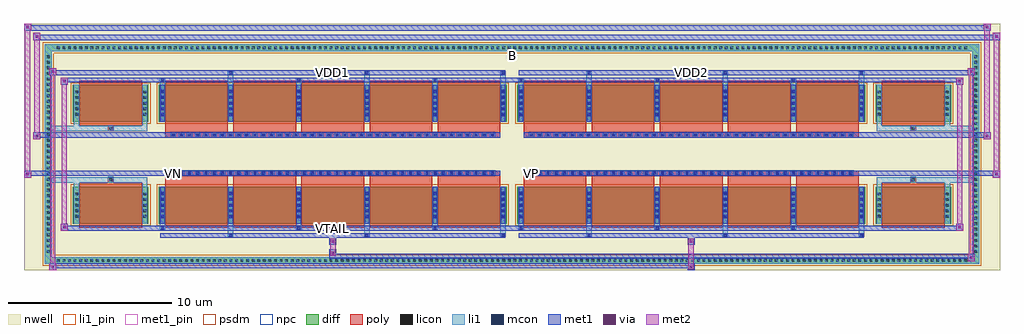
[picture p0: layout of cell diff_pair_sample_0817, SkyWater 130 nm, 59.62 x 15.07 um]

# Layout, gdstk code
import gdstk
lib = gdstk.Library(unit=1e-6, precision=5e-09)
def R(c, l, rs):  # rectangles x0, y0, x1, y1
    for r in rs: c.add(gdstk.rectangle(r[:2], r[2:], *l))
def A(c, l, x, y, w, h, nx, ny, dx, dy):  # array of equal rectangles
    R(c, l, [(x+i*dx, y+j*dy, x+i*dx+w, y+j*dy+h) for i in range(nx) for j in range(ny)])
def P(c, l, *ps):  # polygons
    for p in ps: c.add(gdstk.Polygon(p, *l))
nwell = (64, 20)
diff = (65, 20)
poly = (66, 20)
licon = (66, 44)
li1_pin = (67, 16)
li1 = (67, 20)
mcon = (67, 44)
met1_pin = (68, 16)
met1 = (68, 20)
via = (68, 44)
met2 = (69, 20)
psdm = (94, 20)
npc = (95, 20)

diff_pair_sample_0817 = lib.new_cell('diff_pair_sample_0817')
R(diff_pair_sample_0817, nwell, [(-29.81,-7.1,29.81,7.97), (-27.13,-5.29,-0.01,-0.805), (0.01,-5.29,27.13,-0.805), (-27.13,0.805,-0.01,5.29), (0.01,0.805,27.13,5.29)])
A(diff_pair_sample_0817, diff, -27.915, -6.7, 0.41, 0.41, 164, 2, 0.34, 12.99)
A(diff_pair_sample_0817, diff, -28.54, -6.155, 0.41, 0.41, 1, 36, 0, 0.34)
A(diff_pair_sample_0817, diff, 28.13, -6.155, 0.41, 0.41, 1, 36, 0, 0.34)
R(diff_pair_sample_0817, diff, [(-27.915,-6.7,27.915,-6.29), (-28.54,-6.155,-28.13,6.155), (28.13,-6.155,28.54,6.155), (-26.82,-4.245,-22.21,-1.985), (-21.57,-4.245,-0.32,-1.985), (0.32,-4.245,21.57,-1.985), (22.21,-4.245,26.82,-1.985), (-26.82,1.985,-22.21,4.245), (-21.57,1.985,-0.32,4.245), (0.32,1.985,21.57,4.245), (22.21,1.985,26.82,4.245), (-27.915,6.29,27.915,6.7)])
P(diff_pair_sample_0817, diff, [(28.54,6.7),(-28.54,6.7),(-28.54,-6.29),(-28.13,-6.29),(-28.13,6.29),(28.13,6.29),(28.13,-6.29),(-28.13,-6.29),(-28.54,-6.29),(-28.54,-6.7),(28.54,-6.7)])
A(diff_pair_sample_0817, poly, -21.18, -4.495, 3.83, 2.76, 5, 2, 4.16, 6.23)
A(diff_pair_sample_0817, poly, 0.71, -4.495, 3.83, 2.76, 5, 2, 4.16, 6.23)
A(diff_pair_sample_0817, poly, -21.18, -1.735, 3.83, 0.4, 5, 2, 4.16, 3.07)
A(diff_pair_sample_0817, poly, 0.71, -1.735, 3.83, 0.4, 5, 2, 4.16, 3.07)
A(diff_pair_sample_0817, poly, -20.86, -1.335, 0.33, 0.33, 40, 2, 0.5, 2.34)
A(diff_pair_sample_0817, poly, 1.03, -1.335, 0.33, 0.33, 40, 2, 0.5, 2.34)
R(diff_pair_sample_0817, poly, [(-26.43,-4.495,-22.6,-1.735), (22.6,-4.495,26.43,-1.735), (-24.68,-1.735,-24.35,-1.405), (-24.68,-1.735,-24.35,-1.405), (24.35,-1.735,24.68,-1.405), (24.35,-1.735,24.68,-1.405), (-21.18,-1.335,-0.71,-1.005), (0.71,-1.335,21.18,-1.005), (-21.18,1.005,-0.71,1.335), (0.71,1.005,21.18,1.335), (-24.68,1.405,-24.35,1.735), (-24.68,1.405,-24.35,1.735), (24.35,1.405,24.68,1.735), (24.35,1.405,24.68,1.735), (-26.43,1.735,-22.6,4.495), (22.6,1.735,26.43,4.495)])
A(diff_pair_sample_0817, licon, -27.795, -6.58, 0.17, 0.17, 164, 2, 0.34, 12.99)
A(diff_pair_sample_0817, licon, -28.42, -6.035, 0.17, 0.17, 1, 36, 0, 0.34)
A(diff_pair_sample_0817, licon, 28.25, -6.035, 0.17, 0.17, 1, 36, 0, 0.34)
A(diff_pair_sample_0817, licon, -26.68, -3.88, 0.17, 0.17, 1, 5, 0, 0.34)
A(diff_pair_sample_0817, licon, -22.52, -3.88, 0.17, 0.17, 1, 5, 0, 0.34)
A(diff_pair_sample_0817, licon, -21.43, -3.88, 0.17, 0.17, 6, 5, 4.16, 0.34)
A(diff_pair_sample_0817, licon, 0.46, -3.88, 0.17, 0.17, 6, 5, 4.16, 0.34)
A(diff_pair_sample_0817, licon, 22.35, -3.88, 0.17, 0.17, 1, 5, 0, 0.34)
A(diff_pair_sample_0817, licon, 26.51, -3.88, 0.17, 0.17, 1, 5, 0, 0.34)
A(diff_pair_sample_0817, licon, -20.78, -1.255, 0.17, 0.17, 40, 2, 0.5, 2.34)
A(diff_pair_sample_0817, licon, 1.11, -1.255, 0.17, 0.17, 40, 2, 0.5, 2.34)
A(diff_pair_sample_0817, licon, -26.68, 2.35, 0.17, 0.17, 1, 5, 0, 0.34)
A(diff_pair_sample_0817, licon, -22.52, 2.35, 0.17, 0.17, 1, 5, 0, 0.34)
A(diff_pair_sample_0817, licon, -21.43, 2.35, 0.17, 0.17, 6, 5, 4.16, 0.34)
A(diff_pair_sample_0817, licon, 0.46, 2.35, 0.17, 0.17, 6, 5, 4.16, 0.34)
A(diff_pair_sample_0817, licon, 22.35, 2.35, 0.17, 0.17, 1, 5, 0, 0.34)
A(diff_pair_sample_0817, licon, 26.51, 2.35, 0.17, 0.17, 1, 5, 0, 0.34)
R(diff_pair_sample_0817, licon, [(-24.6,-1.655,-24.43,-1.485), (24.43,-1.655,24.6,-1.485), (-24.6,1.485,-24.43,1.655), (24.43,1.485,24.6,1.655)])
R(diff_pair_sample_0817, li1_pin, [(-0.25,5.79,0.25,6.29)])
A(diff_pair_sample_0817, li1, -27.875, -6.66, 0.33, 0.33, 164, 2, 0.34, 12.99)
A(diff_pair_sample_0817, li1, -28.5, -6.115, 0.33, 0.33, 1, 36, 0, 0.34)
A(diff_pair_sample_0817, li1, 28.17, -6.115, 0.33, 0.33, 1, 36, 0, 0.34)
A(diff_pair_sample_0817, li1, -17.35, -5.05, 0.33, 0.805, 3, 2, 8.32, 9.295)
A(diff_pair_sample_0817, li1, -17.27, -5.05, 0.17, 0.17, 3, 2, 8.32, 9.93)
A(diff_pair_sample_0817, li1, 4.54, -5.05, 0.33, 0.805, 3, 2, 8.32, 9.295)
A(diff_pair_sample_0817, li1, 4.62, -5.05, 0.17, 0.17, 3, 2, 8.32, 9.93)
A(diff_pair_sample_0817, li1, -21.51, -4.62, 0.33, 0.375, 3, 2, 8.32, 8.865)
A(diff_pair_sample_0817, li1, -21.43, -4.62, 0.17, 0.17, 3, 2, 8.32, 9.07)
A(diff_pair_sample_0817, li1, 0.38, -4.62, 0.33, 0.375, 3, 2, 8.32, 8.865)
A(diff_pair_sample_0817, li1, 0.46, -4.62, 0.17, 0.17, 3, 2, 8.32, 9.07)
A(diff_pair_sample_0817, li1, -21.51, -4.245, 0.33, 2.26, 6, 2, 4.16, 6.23)
A(diff_pair_sample_0817, li1, 0.38, -4.245, 0.33, 2.26, 6, 2, 4.16, 6.23)
A(diff_pair_sample_0817, li1, -26.76, -3.96, 0.33, 0.33, 1, 5, 0, 0.34)
A(diff_pair_sample_0817, li1, -22.6, -3.96, 0.33, 0.33, 1, 5, 0, 0.34)
A(diff_pair_sample_0817, li1, -21.51, -3.96, 0.33, 0.33, 6, 5, 4.16, 0.34)
A(diff_pair_sample_0817, li1, 0.38, -3.96, 0.33, 0.33, 6, 5, 4.16, 0.34)
A(diff_pair_sample_0817, li1, 22.27, -3.96, 0.33, 0.33, 1, 5, 0, 0.34)
A(diff_pair_sample_0817, li1, 26.43, -3.96, 0.33, 0.33, 1, 5, 0, 0.34)
A(diff_pair_sample_0817, li1, -21.43, -3.92, 0.17, 0.17, 6, 5, 4.16, 0.36)
A(diff_pair_sample_0817, li1, -21.43, -3.92, 0.17, 1.61, 6, 2, 4.16, 6.23)
A(diff_pair_sample_0817, li1, 0.46, -3.92, 0.17, 0.17, 6, 5, 4.16, 0.36)
A(diff_pair_sample_0817, li1, 0.46, -3.92, 0.17, 1.61, 6, 2, 4.16, 6.23)
A(diff_pair_sample_0817, li1, -20.86, -1.335, 0.33, 0.33, 40, 2, 0.5, 2.34)
A(diff_pair_sample_0817, li1, 1.03, -1.335, 0.33, 0.33, 40, 2, 0.5, 2.34)
A(diff_pair_sample_0817, li1, -26.76, 2.27, 0.33, 0.33, 1, 5, 0, 0.34)
A(diff_pair_sample_0817, li1, -22.6, 2.27, 0.33, 0.33, 1, 5, 0, 0.34)
A(diff_pair_sample_0817, li1, -21.51, 2.27, 0.33, 0.33, 6, 5, 4.16, 0.34)
A(diff_pair_sample_0817, li1, 0.38, 2.27, 0.33, 0.33, 6, 5, 4.16, 0.34)
A(diff_pair_sample_0817, li1, 22.27, 2.27, 0.33, 0.33, 1, 5, 0, 0.34)
A(diff_pair_sample_0817, li1, 26.43, 2.27, 0.33, 0.33, 1, 5, 0, 0.34)
A(diff_pair_sample_0817, li1, -21.43, 2.31, 0.17, 0.17, 6, 5, 4.16, 0.36)
A(diff_pair_sample_0817, li1, 0.46, 2.31, 0.17, 0.17, 6, 5, 4.16, 0.36)
R(diff_pair_sample_0817, li1, [(-28.54,-6.7,-28.13,-6.29), (-28.54,-6.7,-28.13,-6.29), (-28.13,-6.7,28.13,-6.29), (28.13,-6.7,28.54,-6.29), (28.13,-6.7,28.54,-6.29), (-28.54,-6.29,-28.13,6.29), (28.13,-6.29,28.54,6.29), (-26.76,-4.245,-26.43,-1.985), (-22.6,-4.245,-22.27,-1.985), (22.27,-4.245,22.6,-1.985), (26.43,-4.245,26.76,-1.985), (-26.76,-1.985,-26.43,-1.405), (-22.6,-1.985,-22.27,-1.405), (22.27,-1.985,22.6,-1.405), (26.43,-1.985,26.76,-1.405), (-28.54,-1.735,-24.68,-1.405), (-26.76,-1.735,-24.68,-1.405), (-24.68,-1.735,-24.35,-1.405), (-24.35,-1.735,-22.27,-1.405), (22.27,-1.735,24.35,-1.405), (24.35,-1.735,24.68,-1.405), (24.35,-1.735,28.54,-1.405), (24.68,-1.735,26.76,-1.405), (-28.54,1.405,-24.68,1.735), (-26.76,1.405,-24.68,1.735), (-26.76,1.405,-26.43,1.985), (-24.68,1.405,-24.35,1.735), (-24.35,1.405,-22.27,1.735), (-22.6,1.405,-22.27,1.985), (22.27,1.405,24.35,1.735), (22.27,1.405,22.6,1.985), (24.35,1.405,24.68,1.735), (24.35,1.405,28.54,1.735), (24.68,1.405,26.76,1.735), (26.43,1.405,26.76,1.985), (-26.76,1.985,-26.43,4.245), (-22.6,1.985,-22.27,4.245), (22.27,1.985,22.6,4.245), (26.43,1.985,26.76,4.245), (-28.54,6.29,-28.13,6.7), (-28.54,6.29,-28.13,6.7), (-28.13,6.29,28.13,6.7), (28.13,6.29,28.54,6.7), (28.13,6.29,28.54,6.7)])
A(diff_pair_sample_0817, mcon, -17.27, -5.05, 0.17, 0.17, 3, 2, 8.32, 9.93)
A(diff_pair_sample_0817, mcon, 4.62, -5.05, 0.17, 0.17, 3, 2, 8.32, 9.93)
A(diff_pair_sample_0817, mcon, -21.43, -4.62, 0.17, 0.17, 3, 2, 8.32, 9.07)
A(diff_pair_sample_0817, mcon, 0.46, -4.62, 0.17, 0.17, 3, 2, 8.32, 9.07)
A(diff_pair_sample_0817, mcon, -21.43, -3.92, 0.17, 0.17, 6, 5, 4.16, 0.36)
A(diff_pair_sample_0817, mcon, 0.46, -3.92, 0.17, 0.17, 6, 5, 4.16, 0.36)
A(diff_pair_sample_0817, mcon, -20.78, -1.255, 0.17, 0.17, 40, 2, 0.5, 2.34)
A(diff_pair_sample_0817, mcon, 1.11, -1.255, 0.17, 0.17, 40, 2, 0.5, 2.34)
A(diff_pair_sample_0817, mcon, -21.43, 2.31, 0.17, 0.17, 6, 5, 4.16, 0.36)
A(diff_pair_sample_0817, mcon, 0.46, 2.31, 0.17, 0.17, 6, 5, 4.16, 0.36)
R(diff_pair_sample_0817, met1_pin, [(-11.08,-4.66,-10.81,-4.39), (-20.83,-1.295,-20.56,-1.025), (1.06,-1.295,1.33,-1.025), (-11.08,4.84,-10.81,5.11), (10.81,4.84,11.08,5.11)])
A(diff_pair_sample_0817, met1, -17.33, -5.11, 0.29, 0.29, 3, 2, 8.32, 9.93)
A(diff_pair_sample_0817, met1, 4.56, -5.11, 0.29, 0.29, 3, 2, 8.32, 9.93)
A(diff_pair_sample_0817, met1, -21.49, -4.68, 0.29, 0.29, 3, 2, 8.32, 9.07)
A(diff_pair_sample_0817, met1, 0.4, -4.68, 0.29, 0.29, 3, 2, 8.32, 9.07)
A(diff_pair_sample_0817, met1, -21.49, -4.245, 0.29, 2.26, 6, 2, 4.16, 6.23)
A(diff_pair_sample_0817, met1, 0.4, -4.245, 0.29, 2.26, 6, 2, 4.16, 6.23)
A(diff_pair_sample_0817, met1, -21.49, -3.98, 0.29, 0.29, 6, 5, 4.16, 0.36)
A(diff_pair_sample_0817, met1, 0.4, -3.98, 0.29, 0.29, 6, 5, 4.16, 0.36)
A(diff_pair_sample_0817, met1, -20.84, -1.315, 0.29, 0.29, 40, 2, 0.5, 2.34)
A(diff_pair_sample_0817, met1, 1.05, -1.315, 0.29, 0.29, 40, 2, 0.5, 2.34)
A(diff_pair_sample_0817, met1, -21.49, 2.25, 0.29, 0.29, 6, 5, 4.16, 0.36)
A(diff_pair_sample_0817, met1, 0.4, 2.25, 0.29, 0.29, 6, 5, 4.16, 0.36)
R(diff_pair_sample_0817, met1, [(-28.27,-7.1,-27.84,-6.67), (10.73,-7.1,11.16,-6.67), (-28.27,-6.96,11.16,-6.67), (27.84,-6.53,28.27,-6.1), (-11.16,-6.39,28.27,-6.1), (-11.16,-6.25,-10.73,-5.82), (-11.16,-5.54,-10.73,-5.11), (10.73,-5.54,11.16,-5.11), (-21.49,-5.11,-0.4,-4.82), (0.4,-5.11,21.49,-4.82), (-27.56,-4.68,-27.13,-4.25), (-27.56,-4.68,-21.49,-4.39), (-21.49,-4.68,-0.4,-4.39), (-0.4,-4.68,0.4,-4.39), (0.4,-4.68,21.49,-4.39), (21.49,-4.68,27.56,-4.39), (27.13,-4.68,27.56,-4.25), (-29.81,-1.435,-29.38,-1.005), (29.38,-1.435,29.81,-1.005), (-29.81,-1.335,-0.71,-1.005), (-21.18,-1.335,-0.71,-1.005), (0.71,-1.335,21.18,-1.005), (0.71,-1.335,29.81,-1.005), (-29.24,0.905,-28.81,1.335), (28.81,0.905,29.24,1.335), (-29.24,1.005,-21.18,1.335), (-21.18,1.005,-0.71,1.335), (0.71,1.005,21.18,1.335), (21.18,1.005,29.24,1.335), (-27.56,4.25,-27.13,4.68), (27.13,4.25,27.56,4.68), (-27.56,4.39,-21.49,4.68), (-21.49,4.39,-0.4,4.68), (-0.4,4.39,0.4,4.68), (0.4,4.39,21.49,4.68), (21.49,4.39,27.56,4.68), (-28.27,4.82,-27.84,5.25), (-28.27,4.82,-21.49,5.11), (-21.49,4.82,-0.4,5.11), (0.4,4.82,21.49,5.11), (21.49,4.82,28.27,5.11), (27.84,4.82,28.27,5.25), (-29.24,6.97,-28.81,7.4), (-29.24,6.97,-27.13,7.3), (-27.13,6.97,27.13,7.3), (27.13,6.97,29.81,7.3), (29.38,6.97,29.81,7.4), (-29.81,7.54,-29.38,7.97), (-29.81,7.54,-27.13,7.87), (-27.13,7.54,27.13,7.87), (27.13,7.54,29.24,7.87), (28.81,7.54,29.24,7.97)])
R(diff_pair_sample_0817, via, [(-28.13,-6.96,-27.98,-6.81), (10.87,-6.96,11.02,-6.81), (27.98,-6.39,28.13,-6.24), (-11.02,-6.11,-10.87,-5.96), (-11.02,-5.4,-10.87,-5.25), (10.87,-5.4,11.02,-5.25), (-27.42,-4.54,-27.27,-4.39), (27.27,-4.54,27.42,-4.39), (-29.67,-1.295,-29.52,-1.145), (29.52,-1.295,29.67,-1.145), (-29.1,1.045,-28.95,1.195), (28.95,1.045,29.1,1.195), (-27.42,4.39,-27.27,4.54), (27.27,4.39,27.42,4.54), (-28.13,4.96,-27.98,5.11), (27.98,4.96,28.13,5.11), (-29.1,7.11,-28.95,7.26), (29.52,7.11,29.67,7.26), (-29.67,7.68,-29.52,7.83), (28.95,7.68,29.1,7.83)])
R(diff_pair_sample_0817, met2, [(-28.27,-7.1,-27.84,-6.67), (-28.2,-7.1,-27.91,5.25), (-27.91,-7.1,-27.84,-6.67), (-28.22,-7.05,-27.89,-6.72), (10.78,-7.05,11.11,-6.72), (10.78,-6.72,11.11,-5.49), (27.84,-6.53,28.27,-6.1), (27.91,-6.53,28.2,5.25), (28.2,-6.53,28.27,-6.1), (27.89,-6.48,28.22,-6.15), (-11.11,-6.2,-10.78,-5.87), (-11.11,-5.87,-10.78,-5.49), (-11.11,-5.49,-10.78,-5.16), (10.78,-5.49,11.11,-5.16), (-27.56,-4.68,-27.13,-4.25), (-27.49,-4.68,-27.2,4.68), (-27.2,-4.68,-27.13,-4.25), (27.13,-4.68,27.56,-4.25), (27.2,-4.68,27.49,4.68), (27.49,-4.68,27.56,-4.25), (-27.51,-4.63,-27.18,-4.3), (27.18,-4.63,27.51,-4.3), (-29.81,-1.435,-29.38,-1.005), (-29.76,-1.435,-29.43,7.97), (-29.43,-1.435,-29.38,-1.005), (29.38,-1.435,29.81,-1.005), (29.43,-1.435,29.76,7.4), (29.76,-1.435,29.81,-1.005), (-29.76,-1.385,-29.43,-1.055), (29.43,-1.385,29.76,-1.055), (-29.24,0.905,-28.81,1.335), (-29.19,0.905,-28.86,7.4), (-28.86,0.905,-28.81,1.335), (28.81,0.905,29.24,1.335), (28.86,0.905,29.19,7.97), (29.19,0.905,29.24,1.335), (-29.19,0.955,-28.86,1.285), (28.86,0.955,29.19,1.285), (-27.56,4.25,-27.13,4.68), (-27.2,4.25,-27.13,4.68), (27.13,4.25,27.56,4.68), (27.49,4.25,27.56,4.68), (-27.51,4.3,-27.18,4.63), (27.18,4.3,27.51,4.63), (-28.27,4.82,-27.84,5.25), (-27.91,4.82,-27.84,5.25), (27.84,4.82,28.27,5.25), (28.2,4.82,28.27,5.25), (-28.22,4.87,-27.89,5.2), (27.89,4.87,28.22,5.2), (-29.24,6.97,-28.81,7.4), (-28.86,6.97,-28.81,7.4), (29.38,6.97,29.81,7.4), (29.76,6.97,29.81,7.4), (-29.19,7.02,-28.86,7.35), (29.43,7.02,29.76,7.35), (-29.81,7.54,-29.38,7.97), (-29.43,7.54,-29.38,7.97), (28.81,7.54,29.24,7.97), (29.19,7.54,29.24,7.97), (-29.76,7.59,-29.43,7.92), (28.86,7.59,29.19,7.92)])
R(diff_pair_sample_0817, psdm, [(-26.95,-4.375,-22.08,-1.855), (-21.7,-4.375,-0.19,-1.855), (0.19,-4.375,21.7,-1.855), (22.08,-4.375,26.95,-1.855), (-26.95,1.855,-22.08,4.375), (-21.7,1.855,-0.19,4.375), (0.19,1.855,21.7,4.375), (22.08,1.855,26.95,4.375)])
P(diff_pair_sample_0817, psdm, [(28.67,6.83),(-28.67,6.83),(-28.67,-6.16),(-28,-6.16),(-28,6.16),(28,6.16),(28,-6.16),(-28,-6.16),(-28.67,-6.16),(-28.67,-6.83),(28.67,-6.83)])
A(diff_pair_sample_0817, npc, -20.88, -1.355, 0.37, 0.37, 40, 2, 0.5, 2.34)
A(diff_pair_sample_0817, npc, 1.01, -1.355, 0.37, 0.37, 40, 2, 0.5, 2.34)
R(diff_pair_sample_0817, npc, [(-24.7,-1.755,-24.33,-1.385), (24.33,-1.755,24.7,-1.385), (-20.88,-1.355,-20.01,-0.985), (-20.88,-1.355,-20.01,-0.985), (-20.38,-1.355,-19.51,-0.985), (-20.38,-1.355,-19.51,-0.985), (-19.88,-1.355,-19.01,-0.985), (-19.88,-1.355,-19.01,-0.985), (-19.38,-1.355,-18.51,-0.985), (-19.38,-1.355,-18.51,-0.985), (-18.88,-1.355,-18.01,-0.985), (-18.88,-1.355,-18.01,-0.985), (-18.38,-1.355,-17.51,-0.985), (-18.38,-1.355,-17.51,-0.985), (-17.88,-1.355,-17.01,-0.985), (-17.88,-1.355,-17.01,-0.985), (-17.38,-1.355,-16.51,-0.985), (-17.38,-1.355,-16.51,-0.985), (-16.88,-1.355,-16.01,-0.985), (-16.88,-1.355,-16.01,-0.985), (-16.38,-1.355,-15.51,-0.985), (-16.38,-1.355,-15.51,-0.985), (-15.88,-1.355,-15.01,-0.985), (-15.88,-1.355,-15.01,-0.985), (-15.38,-1.355,-14.51,-0.985), (-15.38,-1.355,-14.51,-0.985), (-14.88,-1.355,-14.01,-0.985), (-14.88,-1.355,-14.01,-0.985), (-14.38,-1.355,-13.51,-0.985), (-14.38,-1.355,-13.51,-0.985), (-13.88,-1.355,-13.01,-0.985), (-13.88,-1.355,-13.01,-0.985), (-13.38,-1.355,-12.51,-0.985), (-13.38,-1.355,-12.51,-0.985), (-12.88,-1.355,-12.01,-0.985), (-12.88,-1.355,-12.01,-0.985), (-12.38,-1.355,-11.51,-0.985), (-12.38,-1.355,-11.51,-0.985), (-11.88,-1.355,-11.01,-0.985), (-11.88,-1.355,-11.01,-0.985), (-11.38,-1.355,-10.51,-0.985), (-11.38,-1.355,-10.51,-0.985), (-10.88,-1.355,-10.01,-0.985), (-10.88,-1.355,-10.01,-0.985), (-10.38,-1.355,-9.51,-0.985), (-10.38,-1.355,-9.51,-0.985), (-9.88,-1.355,-9.01,-0.985), (-9.88,-1.355,-9.01,-0.985), (-9.38,-1.355,-8.51,-0.985), (-9.38,-1.355,-8.51,-0.985), (-8.88,-1.355,-8.01,-0.985), (-8.88,-1.355,-8.01,-0.985), (-8.38,-1.355,-7.51,-0.985), (-8.38,-1.355,-7.51,-0.985), (-7.88,-1.355,-7.01,-0.985), (-7.88,-1.355,-7.01,-0.985), (-7.38,-1.355,-6.51,-0.985), (-7.38,-1.355,-6.51,-0.985), (-6.88,-1.355,-6.01,-0.985), (-6.88,-1.355,-6.01,-0.985), (-6.38,-1.355,-5.51,-0.985), (-6.38,-1.355,-5.51,-0.985), (-5.88,-1.355,-5.01,-0.985), (-5.88,-1.355,-5.01,-0.985), (-5.38,-1.355,-4.51,-0.985), (-5.38,-1.355,-4.51,-0.985), (-4.88,-1.355,-4.01,-0.985), (-4.88,-1.355,-4.01,-0.985), (-4.38,-1.355,-3.51,-0.985), (-4.38,-1.355,-3.51,-0.985), (-3.88,-1.355,-3.01,-0.985), (-3.88,-1.355,-3.01,-0.985), (-3.38,-1.355,-2.51,-0.985), (-3.38,-1.355,-2.51,-0.985), (-2.88,-1.355,-2.01,-0.985), (-2.88,-1.355,-2.01,-0.985), (-2.38,-1.355,-1.51,-0.985), (-2.38,-1.355,-1.51,-0.985), (-1.88,-1.355,-1.01,-0.985), (-1.88,-1.355,-1.01,-0.985), (1.01,-1.355,1.88,-0.985), (1.01,-1.355,1.88,-0.985), (1.51,-1.355,2.38,-0.985), (1.51,-1.355,2.38,-0.985), (2.01,-1.355,2.88,-0.985), (2.01,-1.355,2.88,-0.985), (2.51,-1.355,3.38,-0.985), (2.51,-1.355,3.38,-0.985), (3.01,-1.355,3.88,-0.985), (3.01,-1.355,3.88,-0.985), (3.51,-1.355,4.38,-0.985), (3.51,-1.355,4.38,-0.985), (4.01,-1.355,4.88,-0.985), (4.01,-1.355,4.88,-0.985), (4.51,-1.355,5.38,-0.985), (4.51,-1.355,5.38,-0.985), (5.01,-1.355,5.88,-0.985), (5.01,-1.355,5.88,-0.985), (5.51,-1.355,6.38,-0.985), (5.51,-1.355,6.38,-0.985), (6.01,-1.355,6.88,-0.985), (6.01,-1.355,6.88,-0.985), (6.51,-1.355,7.38,-0.985), (6.51,-1.355,7.38,-0.985), (7.01,-1.355,7.88,-0.985), (7.01,-1.355,7.88,-0.985), (7.51,-1.355,8.38,-0.985), (7.51,-1.355,8.38,-0.985), (8.01,-1.355,8.88,-0.985), (8.01,-1.355,8.88,-0.985), (8.51,-1.355,9.38,-0.985), (8.51,-1.355,9.38,-0.985), (9.01,-1.355,9.88,-0.985), (9.01,-1.355,9.88,-0.985), (9.51,-1.355,10.38,-0.985), (9.51,-1.355,10.38,-0.985), (10.01,-1.355,10.88,-0.985), (10.01,-1.355,10.88,-0.985), (10.51,-1.355,11.38,-0.985), (10.51,-1.355,11.38,-0.985), (11.01,-1.355,11.88,-0.985), (11.01,-1.355,11.88,-0.985), (11.51,-1.355,12.38,-0.985), (11.51,-1.355,12.38,-0.985), (12.01,-1.355,12.88,-0.985), (12.01,-1.355,12.88,-0.985), (12.51,-1.355,13.38,-0.985), (12.51,-1.355,13.38,-0.985), (13.01,-1.355,13.88,-0.985), (13.01,-1.355,13.88,-0.985), (13.51,-1.355,14.38,-0.985), (13.51,-1.355,14.38,-0.985), (14.01,-1.355,14.88,-0.985), (14.01,-1.355,14.88,-0.985), (14.51,-1.355,15.38,-0.985), (14.51,-1.355,15.38,-0.985), (15.01,-1.355,15.88,-0.985), (15.01,-1.355,15.88,-0.985), (15.51,-1.355,16.38,-0.985), (15.51,-1.355,16.38,-0.985), (16.01,-1.355,16.88,-0.985), (16.01,-1.355,16.88,-0.985), (16.51,-1.355,17.38,-0.985), (16.51,-1.355,17.38,-0.985), (17.01,-1.355,17.88,-0.985), (17.01,-1.355,17.88,-0.985), (17.51,-1.355,18.38,-0.985), (17.51,-1.355,18.38,-0.985), (18.01,-1.355,18.88,-0.985), (18.01,-1.355,18.88,-0.985), (18.51,-1.355,19.38,-0.985), (18.51,-1.355,19.38,-0.985), (19.01,-1.355,19.88,-0.985), (19.01,-1.355,19.88,-0.985), (19.51,-1.355,20.38,-0.985), (19.51,-1.355,20.38,-0.985), (20.01,-1.355,20.88,-0.985), (20.01,-1.355,20.88,-0.985), (-20.88,0.985,-20.01,1.355), (-20.88,0.985,-20.01,1.355), (-20.38,0.985,-19.51,1.355), (-20.38,0.985,-19.51,1.355), (-19.88,0.985,-19.01,1.355), (-19.88,0.985,-19.01,1.355), (-19.38,0.985,-18.51,1.355), (-19.38,0.985,-18.51,1.355), (-18.88,0.985,-18.01,1.355), (-18.88,0.985,-18.01,1.355), (-18.38,0.985,-17.51,1.355), (-18.38,0.985,-17.51,1.355), (-17.88,0.985,-17.01,1.355), (-17.88,0.985,-17.01,1.355), (-17.38,0.985,-16.51,1.355), (-17.38,0.985,-16.51,1.355), (-16.88,0.985,-16.01,1.355), (-16.88,0.985,-16.01,1.355), (-16.38,0.985,-15.51,1.355), (-16.38,0.985,-15.51,1.355), (-15.88,0.985,-15.01,1.355), (-15.88,0.985,-15.01,1.355), (-15.38,0.985,-14.51,1.355), (-15.38,0.985,-14.51,1.355), (-14.88,0.985,-14.01,1.355), (-14.88,0.985,-14.01,1.355), (-14.38,0.985,-13.51,1.355), (-14.38,0.985,-13.51,1.355), (-13.88,0.985,-13.01,1.355), (-13.88,0.985,-13.01,1.355), (-13.38,0.985,-12.51,1.355), (-13.38,0.985,-12.51,1.355), (-12.88,0.985,-12.01,1.355), (-12.88,0.985,-12.01,1.355), (-12.38,0.985,-11.51,1.355), (-12.38,0.985,-11.51,1.355), (-11.88,0.985,-11.01,1.355), (-11.88,0.985,-11.01,1.355), (-11.38,0.985,-10.51,1.355), (-11.38,0.985,-10.51,1.355), (-10.88,0.985,-10.01,1.355), (-10.88,0.985,-10.01,1.355), (-10.38,0.985,-9.51,1.355), (-10.38,0.985,-9.51,1.355), (-9.88,0.985,-9.01,1.355), (-9.88,0.985,-9.01,1.355), (-9.38,0.985,-8.51,1.355), (-9.38,0.985,-8.51,1.355), (-8.88,0.985,-8.01,1.355), (-8.88,0.985,-8.01,1.355), (-8.38,0.985,-7.51,1.355), (-8.38,0.985,-7.51,1.355), (-7.88,0.985,-7.01,1.355), (-7.88,0.985,-7.01,1.355), (-7.38,0.985,-6.51,1.355), (-7.38,0.985,-6.51,1.355), (-6.88,0.985,-6.01,1.355), (-6.88,0.985,-6.01,1.355), (-6.38,0.985,-5.51,1.355), (-6.38,0.985,-5.51,1.355), (-5.88,0.985,-5.01,1.355), (-5.88,0.985,-5.01,1.355), (-5.38,0.985,-4.51,1.355), (-5.38,0.985,-4.51,1.355), (-4.88,0.985,-4.01,1.355), (-4.88,0.985,-4.01,1.355), (-4.38,0.985,-3.51,1.355), (-4.38,0.985,-3.51,1.355), (-3.88,0.985,-3.01,1.355), (-3.88,0.985,-3.01,1.355), (-3.38,0.985,-2.51,1.355), (-3.38,0.985,-2.51,1.355), (-2.88,0.985,-2.01,1.355), (-2.88,0.985,-2.01,1.355), (-2.38,0.985,-1.51,1.355), (-2.38,0.985,-1.51,1.355), (-1.88,0.985,-1.01,1.355), (-1.88,0.985,-1.01,1.355), (1.01,0.985,1.88,1.355), (1.01,0.985,1.88,1.355), (1.51,0.985,2.38,1.355), (1.51,0.985,2.38,1.355), (2.01,0.985,2.88,1.355), (2.01,0.985,2.88,1.355), (2.51,0.985,3.38,1.355), (2.51,0.985,3.38,1.355), (3.01,0.985,3.88,1.355), (3.01,0.985,3.88,1.355), (3.51,0.985,4.38,1.355), (3.51,0.985,4.38,1.355), (4.01,0.985,4.88,1.355), (4.01,0.985,4.88,1.355), (4.51,0.985,5.38,1.355), (4.51,0.985,5.38,1.355), (5.01,0.985,5.88,1.355), (5.01,0.985,5.88,1.355), (5.51,0.985,6.38,1.355), (5.51,0.985,6.38,1.355), (6.01,0.985,6.88,1.355), (6.01,0.985,6.88,1.355), (6.51,0.985,7.38,1.355), (6.51,0.985,7.38,1.355), (7.01,0.985,7.88,1.355), (7.01,0.985,7.88,1.355), (7.51,0.985,8.38,1.355), (7.51,0.985,8.38,1.355), (8.01,0.985,8.88,1.355), (8.01,0.985,8.88,1.355), (8.51,0.985,9.38,1.355), (8.51,0.985,9.38,1.355), (9.01,0.985,9.88,1.355), (9.01,0.985,9.88,1.355), (9.51,0.985,10.38,1.355), (9.51,0.985,10.38,1.355), (10.01,0.985,10.88,1.355), (10.01,0.985,10.88,1.355), (10.51,0.985,11.38,1.355), (10.51,0.985,11.38,1.355), (11.01,0.985,11.88,1.355), (11.01,0.985,11.88,1.355), (11.51,0.985,12.38,1.355), (11.51,0.985,12.38,1.355), (12.01,0.985,12.88,1.355), (12.01,0.985,12.88,1.355), (12.51,0.985,13.38,1.355), (12.51,0.985,13.38,1.355), (13.01,0.985,13.88,1.355), (13.01,0.985,13.88,1.355), (13.51,0.985,14.38,1.355), (13.51,0.985,14.38,1.355), (14.01,0.985,14.88,1.355), (14.01,0.985,14.88,1.355), (14.51,0.985,15.38,1.355), (14.51,0.985,15.38,1.355), (15.01,0.985,15.88,1.355), (15.01,0.985,15.88,1.355), (15.51,0.985,16.38,1.355), (15.51,0.985,16.38,1.355), (16.01,0.985,16.88,1.355), (16.01,0.985,16.88,1.355), (16.51,0.985,17.38,1.355), (16.51,0.985,17.38,1.355), (17.01,0.985,17.88,1.355), (17.01,0.985,17.88,1.355), (17.51,0.985,18.38,1.355), (17.51,0.985,18.38,1.355), (18.01,0.985,18.88,1.355), (18.01,0.985,18.88,1.355), (18.51,0.985,19.38,1.355), (18.51,0.985,19.38,1.355), (19.01,0.985,19.88,1.355), (19.01,0.985,19.88,1.355), (19.51,0.985,20.38,1.355), (19.51,0.985,20.38,1.355), (20.01,0.985,20.88,1.355), (20.01,0.985,20.88,1.355), (-24.7,1.385,-24.33,1.755), (24.33,1.385,24.7,1.755)])
diff_pair_sample_0817.add(gdstk.Label('VTAIL', (-10.945,-4.525), layer=68, texttype=5))
diff_pair_sample_0817.add(gdstk.Label('VN', (-20.695,-1.16), layer=68, texttype=5))
diff_pair_sample_0817.add(gdstk.Label('VP', (1.195,-1.16), layer=68, texttype=5))
diff_pair_sample_0817.add(gdstk.Label('B', (0,6.04), layer=67, texttype=5))
diff_pair_sample_0817.add(gdstk.Label('VDD2', (10.945,4.975), layer=68, texttype=5))
diff_pair_sample_0817.add(gdstk.Label('VDD1', (-10.945,4.975), layer=68, texttype=5))

lib.write_gds('diff_pair_sample_0817.gds')
